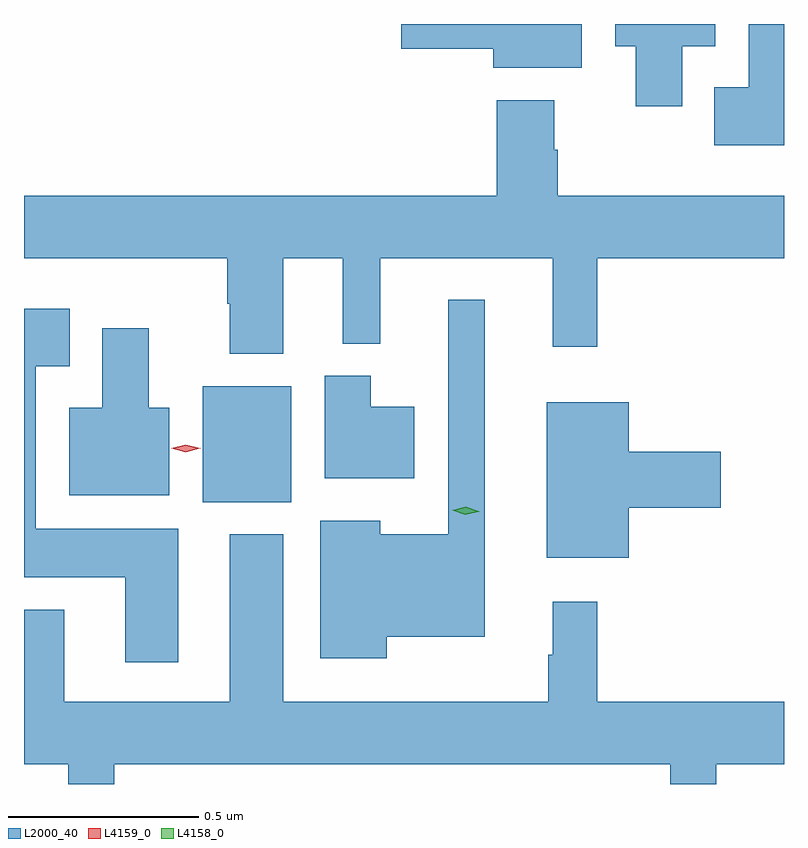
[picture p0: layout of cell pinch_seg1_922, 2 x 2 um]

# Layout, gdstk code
import gdstk
lib = gdstk.Library(unit=1e-6, precision=1e-09)
def R(c, l, rs):  # rectangles x0, y0, x1, y1
    for r in rs: c.add(gdstk.rectangle(r[:2], r[2:], *l))
def P(c, l, *ps):  # polygons
    for p in ps: c.add(gdstk.Polygon(p, *l))
L2000_40 = (2000, 40)
L4158_0 = (4158, 0)
L4159_0 = (4159, 0)

pinch_seg1_922 = lib.new_cell('pinch_seg1_922')
R(pinch_seg1_922, L2000_40, [(546.875,520.454,547.108,520.759)])
P(pinch_seg1_922, L2000_40, [(548.405,521.712),(548.312,521.712),(548.312,521.545),(548.222,521.545),(548.222,521.393),(548.405,521.393)],
  [(548.137,521.654),(548.224,521.654),(548.224,521.712),(547.961,521.712),(547.961,521.654),(548.015,521.654),(548.015,521.496),(548.137,521.496)],
  [(547.873,521.712),(547.398,521.712),(547.398,521.647),(547.64,521.647),(547.64,521.597),(547.873,521.597)],
  [(547.087,521.096),(547.244,521.096),(547.244,520.871),(547.343,520.871),(547.343,521.096),(547.796,521.096),(547.796,520.863),(547.913,520.863),(547.913,521.096),(548.405,521.096),(548.405,521.26),(547.809,521.26),(547.809,521.381),(547.801,521.381),(547.801,521.512),(547.649,521.512),(547.649,521.26),(546.405,521.26),(546.405,521.096),(546.94,521.096),(546.94,520.976),(546.947,520.976),(546.947,520.844),(547.087,520.844)],
  [(547.359,520.1),(547.618,520.1),(547.618,520.987),(547.521,520.987),(547.521,520.369),(547.342,520.369),(547.342,520.405),(547.184,520.405),(547.184,520.043),(547.359,520.043)],
  [(546.811,520.384),(546.436,520.384),(546.436,520.811),(546.526,520.811),(546.526,520.963),(546.405,520.963),(546.405,520.256),(546.671,520.256),(546.671,520.032),(546.811,520.032)],
  [(546.787,520.702),(546.733,520.702),(546.733,520.912),(546.611,520.912),(546.611,520.702),(546.524,520.702),(546.524,520.472),(546.787,520.472)],
  [(547.432,520.705),(547.318,520.705),(547.318,520.786),(547.196,520.786),(547.196,520.517),(547.432,520.517)],
  [(547.996,520.439),(548.239,520.439),(548.239,520.586),(547.996,520.586),(547.996,520.717),(547.781,520.717),(547.781,520.307),(547.996,520.307)],
  [(548.106,519.712),(548.227,519.712),(548.227,519.764),(548.405,519.764),(548.405,519.928),(547.913,519.928),(547.913,520.192),(547.796,520.192),(547.796,520.052),(547.785,520.052),(547.785,519.928),(547.087,519.928),(547.087,520.369),(546.947,520.369),(546.947,519.928),(546.511,519.928),(546.511,520.171),(546.405,520.171),(546.405,519.764),(546.521,519.764),(546.521,519.712),(546.643,519.712),(546.643,519.764),(548.106,519.764)])
P(pinch_seg1_922, L4158_0, [(547.566,520.421),(547.532,520.433),(547.531,520.433),(547.532,520.433),(547.567,520.441),(547.602,520.43),(547.603,520.429),(547.602,520.429)])
P(pinch_seg1_922, L4159_0, [(546.831,520.585),(546.792,520.595),(546.792,520.595),(546.792,520.595),(546.831,520.605),(546.869,520.595),(546.87,520.595),(546.869,520.595)])

lib.write_gds('pinch_seg1_922.gds')
